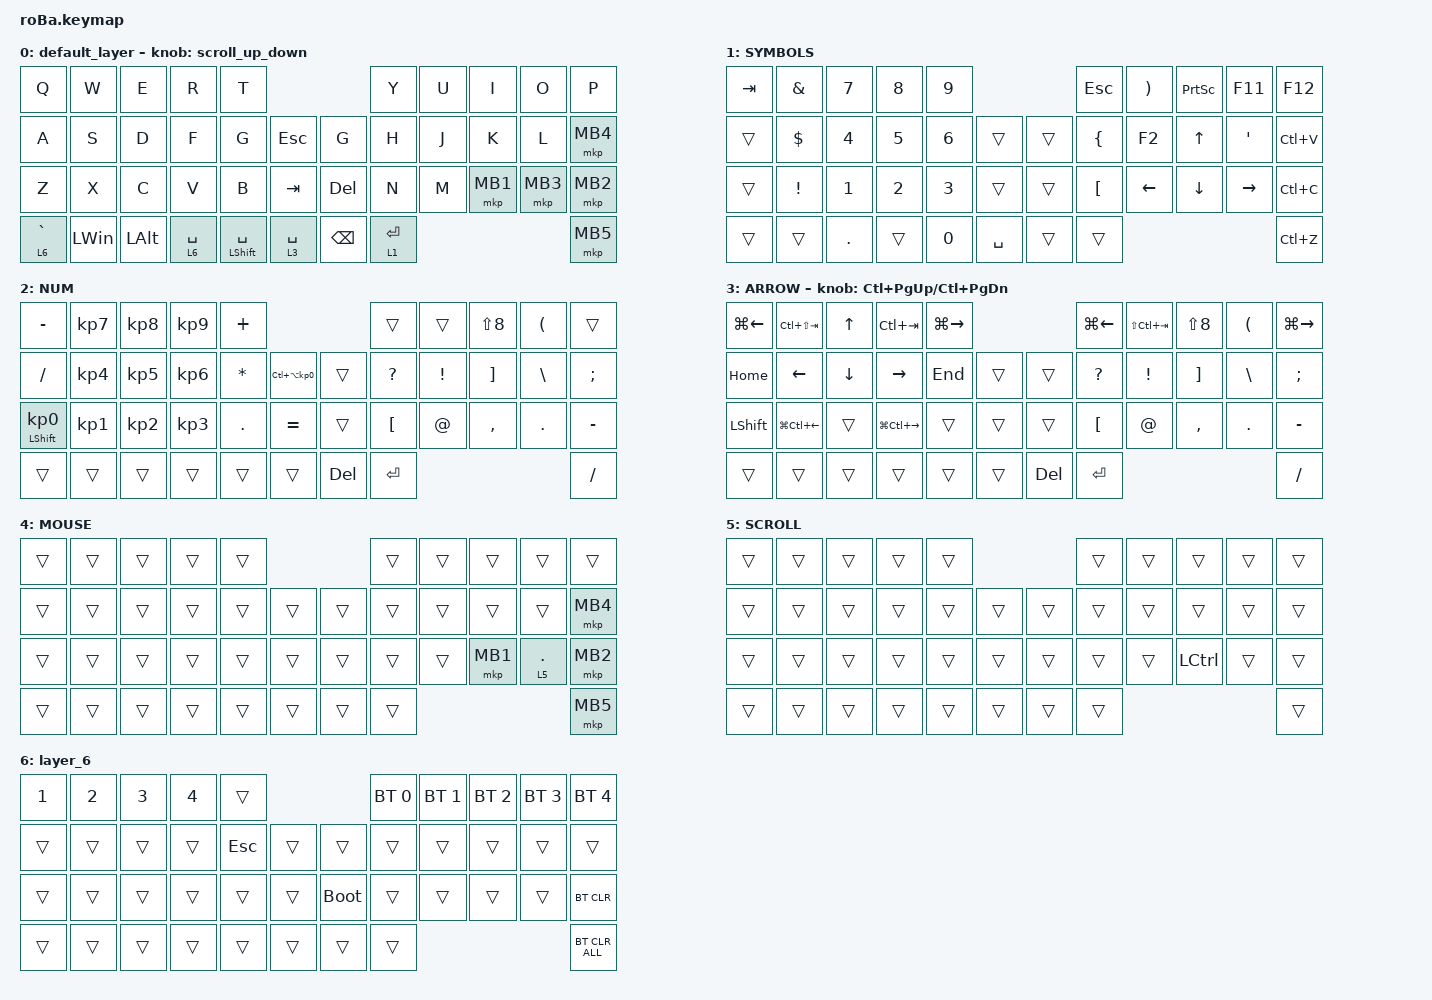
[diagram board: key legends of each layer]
#include <behaviors.dtsi>
#include <dt-bindings/zmk/bt.h>
#include <dt-bindings/zmk/keys.h>
#include <dt-bindings/zmk/pointing.h>

#define ZMK_POINTING_DEFAULT_SCRL_VAL 100
#define MOUSE 4
#define SCROLL 5
#define NUM 6

&mt {
    flavor = "hold-preferred";
    quick-tap-ms = <0>;
};

&sl { release-after-ms = <250>; };

/ {
    combos {
        compatible = "zmk,combos";

        BT0 {
            bindings = <&bt BT_SEL 0>;
            key-positions = <28>;
        };

        BT1 {
            bindings = <&bt BT_SEL 1>;
            key-positions = <28 23>;
        };

        BT2 {
            bindings = <&bt BT_SEL 2>;
            key-positions = <28 24>;
        };

        BT3 {
            bindings = <&none>;
            key-positions = <28 25>;
        };
    };

    macros {
        to_layer_0: to_layer_0 {
            compatible = "zmk,behavior-macro-one-param";
            #binding-cells = <1>;
            bindings = <&to 0 &macro_param_1to1 &kp MACRO_PLACEHOLDER>;
            label = "TO_LAYER_0";
        };

        mkp_exit_AML: mkp_exit_AML {
            compatible = "zmk,behavior-macro-one-param";
            #binding-cells = <1>;
            bindings =
                <&macro_press>,
                <&macro_param_1to1 &mkp MACRO_PLACEHOLDER>,
                <&macro_pause_for_release>,
                <&macro_release>,
                <&macro_param_1to1 &mkp MACRO_PLACEHOLDER>,
                <&macro_tap>,
                <&sl 4>;

            label = "MKP_EXIT_AML";
        };

        parenthesis: parenthesis {
            compatible = "zmk,behavior-macro";
            #binding-cells = <0>;
            bindings = <&kp LANG_HANJA &kp LEFT_PARENTHESIS &kp RIGHT_PARENTHESIS &kp LEFT_ARROW>;
            label = "parenthesis";
        };
    };

    behaviors {
        scroll_up_down: behavior_sensor_rotate_mouse_wheel_up_down {
            compatible = "zmk,behavior-sensor-rotate";
            #sensor-binding-cells = <0>;
            bindings = <&msc SCRL_UP>, <&msc SCRL_DOWN>;

            // 追加: スクロールのタップ時間を設定 (20ms)

            tap-ms = <20>;
        };

        multi_tap_tab_bspc: behavior_multi_tap {
            label = "MT_TAB_BSPC";
            #binding-cells = <0>;
            bindings = <&kp TAB>, <&kp BSPC>;

            max-taps = <2>;
            max-tap-interrupt-ms = <250>;
        };
    };

    keymap {
        compatible = "zmk,keymap";

        default_layer {
            bindings = <
&kp Q        &kp W         &kp E         &kp R        &kp T                                                 &kp Y        &kp U  &kp I     &kp O     &kp P
&kp A        &kp S         &kp D         &kp F        &kp G                 &kp ESCAPE       &kp G          &kp H        &kp J  &kp K     &kp L     &mkp MB4
&kp Z        &kp X         &kp C         &kp V        &kp B                 &kp TAB          &kp DELETE     &kp N        &kp M  &mkp MB1  &mkp MB3  &mkp MB2
&lt 6 GRAVE  &kp LEFT_WIN  &kp LEFT_ALT  &lt 6 SPACE  &mt LEFT_SHIFT SPACE  &lt 3 SPACE      &kp BACKSPACE  &lt 1 ENTER                             &mkp MB5
            >;

            sensor-bindings = <&scroll_up_down>;
        };

        SYMBOLS {
            bindings = <
&kp TAB  &kp AMPERSAND    &kp N7        &kp N8        &kp N9                               &kp ESCAPE        &kp RIGHT_PARENTHESIS  &kp PSCRN       &kp F11           &kp F12
&trans   &kp DOLLAR       &kp NUMBER_4  &kp N5        &kp NUMBER_6  &trans         &trans  &kp LEFT_BRACE    &kp F2                 &kp UP_ARROW    &kp SINGLE_QUOTE  &kp LC(V)
&trans   &kp EXCLAMATION  &kp NUMBER_1  &kp NUMBER_2  &kp NUMBER_3  &trans         &trans  &kp LEFT_BRACKET  &kp LEFT_ARROW         &kp DOWN_ARROW  &kp RIGHT_ARROW   &kp LC(C)
&trans   &trans           &kp PERIOD    &trans        &kp N0        &kp SPACE      &trans  &trans                                                                     &kp LC(Z)
            >;
        };

        NUM {
            bindings = <
&kp MINUS                   &kp KP_NUMBER_7  &kp KP_NUMBER_8  &kp KP_NUMBER_9  &kp PLUS                                               &trans            &trans           &kp LS(N8)         &kp LEFT_PARENTHESIS  &trans
&kp SLASH                   &kp KP_NUMBER_4  &kp KP_NUMBER_5  &kp KP_NUMBER_6  &kp ASTERISK  &kp LC(LA(KP_NUMBER_0))      &trans      &kp QUESTION      &kp EXCLAMATION  &kp RIGHT_BRACKET  &kp BACKSLASH         &kp SEMICOLON
&mt LEFT_SHIFT KP_NUMBER_0  &kp KP_NUMBER_1  &kp KP_NUMBER_2  &kp KP_NUMBER_3  &kp PERIOD    &kp EQUAL                    &trans      &kp LEFT_BRACKET  &kp AT_SIGN      &kp COMMA          &kp PERIOD            &kp MINUS
&trans                      &trans           &trans           &trans           &trans        &trans                       &kp DELETE  &kp ENTER                                                                   &kp SLASH
            >;
        };

        ARROW {
            bindings = <
&kp LG(LEFT_ARROW)  &kp LC(LS(TAB))         &kp UP_ARROW    &kp LC(TAB)              &kp LG(RIGHT_ARROW)                          &kp LG(LEFT_ARROW)  &kp LS(LC(TAB))  &kp LS(N8)         &kp LEFT_PARENTHESIS  &kp LG(RIGHT_ARROW)
&kp HOME            &kp LEFT_ARROW          &kp DOWN_ARROW  &kp RIGHT_ARROW          &kp END              &trans      &trans      &kp QUESTION        &kp EXCLAMATION  &kp RIGHT_BRACKET  &kp BACKSLASH         &kp SEMI
&kp LEFT_SHIFT      &kp LG(LC(LEFT_ARROW))  &trans          &kp LG(LC(RIGHT_ARROW))  &trans               &trans      &trans      &kp LEFT_BRACKET    &kp AT_SIGN      &kp COMMA          &kp PERIOD            &kp MINUS
&trans              &trans                  &trans          &trans                   &trans               &trans      &kp DELETE  &kp ENTER                                                                     &kp SLASH
            >;

            sensor-bindings = <&inc_dec_kp LC(PAGE_UP) LC(PAGE_DOWN)>;
        };

        MOUSE {
            bindings = <
&trans  &trans  &trans  &trans  &trans                      &trans  &trans  &trans    &trans        &trans
&trans  &trans  &trans  &trans  &trans  &trans      &trans  &trans  &trans  &trans    &trans        &mkp MB4
&trans  &trans  &trans  &trans  &trans  &trans      &trans  &trans  &trans  &mkp MB1  &lt 5 PERIOD  &mkp MB2
&trans  &trans  &trans  &trans  &trans  &trans      &trans  &trans                                  &mkp MB5
            >;
        };

        SCROLL {
            bindings = <
&trans  &trans  &trans  &trans  &trans                      &trans  &trans  &trans            &trans  &trans
&trans  &trans  &trans  &trans  &trans  &trans      &trans  &trans  &trans  &trans            &trans  &trans
&trans  &trans  &trans  &trans  &trans  &trans      &trans  &trans  &trans  &kp LEFT_CONTROL  &trans  &trans
&trans  &trans  &trans  &trans  &trans  &trans      &trans  &trans                                    &trans
            >;
        };

        layer_6 {
            bindings = <
&kp NUMBER_1  &kp NUMBER_2  &kp NUMBER_3  &kp NUMBER_4  &trans                               &bt BT_SEL 0  &bt BT_SEL 1  &bt BT_SEL 2  &bt BT_SEL 3  &bt BT_SEL 4
&trans        &trans        &trans        &trans        &kp ESCAPE  &trans      &trans       &trans        &trans        &trans        &trans        &trans
&trans        &trans        &trans        &trans        &trans      &trans      &bootloader  &trans        &trans        &trans        &trans        &bt BT_CLR
&trans        &trans        &trans        &trans        &trans      &trans      &trans       &trans                                                  &bt BT_CLR_ALL
            >;
        };
    };
};
